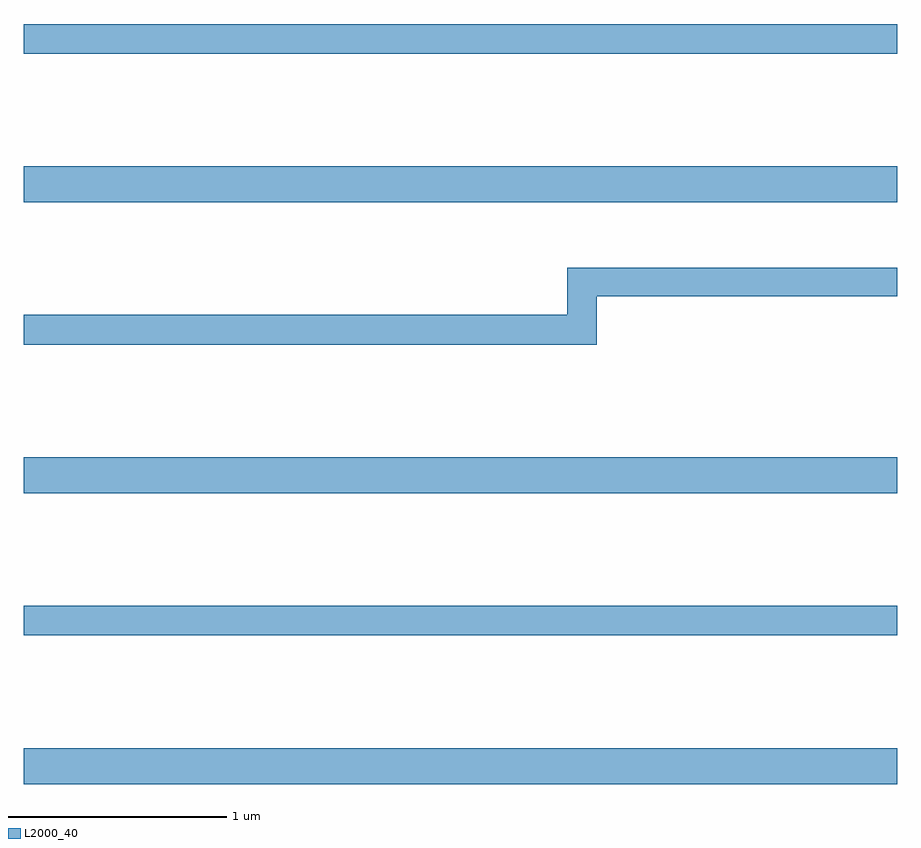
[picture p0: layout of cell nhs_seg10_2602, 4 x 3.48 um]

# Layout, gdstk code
import gdstk
lib = gdstk.Library(unit=1e-6, precision=1e-09)
def R(c, l, rs):  # rectangles x0, y0, x1, y1
    for r in rs: c.add(gdstk.rectangle(r[:2], r[2:], *l))
def A(c, l, x, y, w, h, nx, ny, dx, dy):  # array of equal rectangles
    R(c, l, [(x+i*dx, y+j*dy, x+i*dx+w, y+j*dy+h) for i in range(nx) for j in range(ny)])
def P(c, l, *ps):  # polygons
    for p in ps: c.add(gdstk.Polygon(p, *l))
L2000_40 = (2000, 40)

nhs_seg10_2602 = lib.new_cell('nhs_seg10_2602')
A(nhs_seg10_2602, L2000_40, 251, 1314.968, 4, 0.164, 1, 3, 0, 1.332)
R(nhs_seg10_2602, L2000_40, [(251,1315.648,255,1315.784), (251,1318.312,255,1318.448)])
P(nhs_seg10_2602, L2000_40, [(253.625,1317.202),(255,1317.202),(255,1317.331),(253.489,1317.331),(253.489,1317.116),(251,1317.116),(251,1316.98),(253.625,1316.98)])

lib.write_gds('nhs_seg10_2602.gds')
